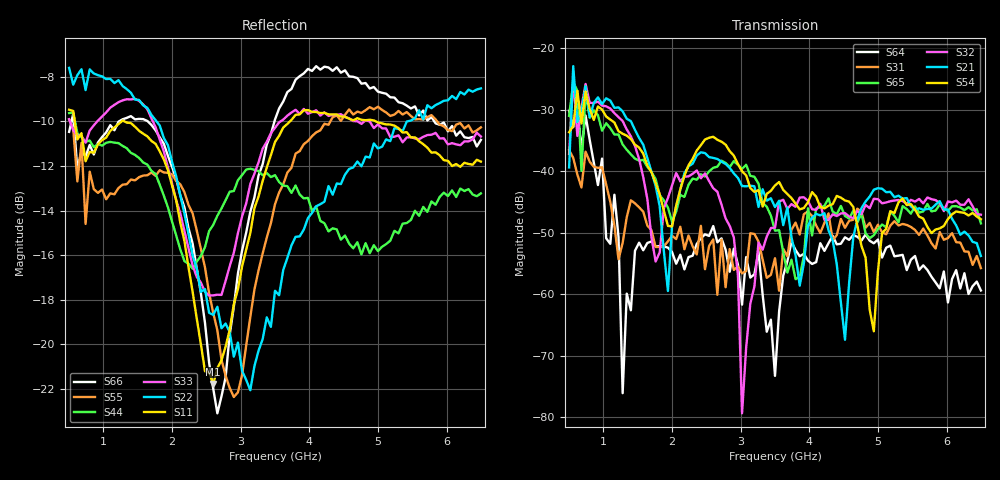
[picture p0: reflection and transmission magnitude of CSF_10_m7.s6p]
!Keysight Technologies,M9804A,MY58100912,A.14.10.03
!Date: Thursday, April 27, 2023 10:28:33
!Correction: S11(C  6-Port  )
!S12(C  6-Port  )
!S13(C  6-Port  )
!S14(C  6-Port  )
!S15(C  6-Port  )
!S16(C  6-Port  )
!S21(C  6-Port  )
!S22(C  6-Port  )
!S23(C  6-Port  )
!S24(C  6-Port  )
!S25(C  6-Port  )
!S26(C  6-Port  )
!S31(C  6-Port  )
!S32(C  6-Port  )
!S33(C  6-Port  )
!S34(C  6-Port  )
!S35(C  6-Port  )
!S36(C  6-Port  )
!S41(C  6-Port  )
!S42(C  6-Port  )
!S43(C  6-Port  )
!S44(C  6-Port  )
!S45(C  6-Port  )
!S46(C  6-Port  )
!S51(C  6-Port  )
!S52(C  6-Port  )
!S53(C  6-Port  )
!S54(C  6-Port  )
!S55(C  6-Port  )
!S56(C  6-Port  )
!S61(C  6-Port  )
!S62(C  6-Port  )
!S63(C  6-Port  )
!S64(C  6-Port  )
!S65(C  6-Port  )
!S66(C  6-Port  )
!S6P File: Measurement: :
# Hz S  RI  R 50
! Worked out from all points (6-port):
!   101 points, 500 MHz to 6.5 GHz, reference 50 ohm
!   strongest paths, dB at 500 MHz, 2 GHz, 3.5 GHz, 5 GHz, 6.5 GHz:
!     S54: -33.7, -49.0, -42.3, -56.2, -47.8
!     S21: -39.4, -48.8, -45.8, -42.8, -53.8
!     S32: -37.2, -42.3, -49.2, -44.5, -47.1
!     S65: -31.0, -48.2, -49.7, -49.4, -48.5
!     S31: -36.6, -50.5, -54.1, -48.7, -55.7
!     S64: -30.2, -53.1, -73.2, -51.1, -59.4
!   lowest |S11| = -21.8 dB at 2.6 GHz (marker M1), VSWR 1.18, Z = 42.7 + j1.94 ohm
!   |S11| at or under -10 dB: 581.9 MHz to 1.265 GHz (683.5 MHz wide, 74 % of centre); 1.305 GHz to 3.718 GHz (2.413 GHz wide, 96.1 % of centre); 4.967 GHz to end of sweep
